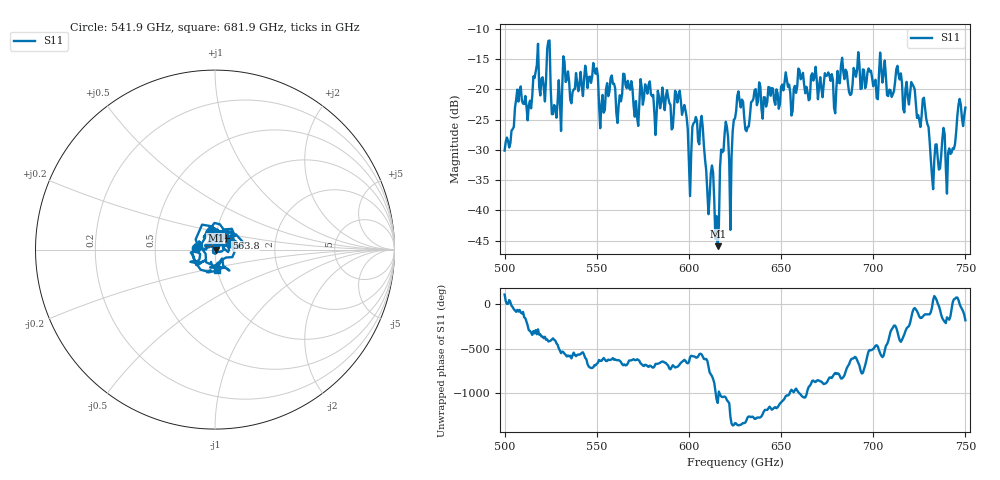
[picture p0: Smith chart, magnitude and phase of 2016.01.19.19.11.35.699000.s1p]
!Created with skrf (http://scikit-rf.org).
# GHz S RI R 50.0
!freq ReS11 ImS11
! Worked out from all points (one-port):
!   401 points, 500 GHz to 750 GHz, reference 50 ohm
!   lowest |S11| = -45.9 dB at 615.6 GHz (marker M1), VSWR 1.01, Z = 50.4 - j0.246 ohm
!   |S11| at or under -10 dB: start of sweep to end of sweep
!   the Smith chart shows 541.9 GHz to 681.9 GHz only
!   S11 on the Smith chart (normalised r, x): 541.9 GHz: 0.81, +0.01; 563.8 GHz: 1.12, +0.15; 681.9 GHz: 0.99, -0.23
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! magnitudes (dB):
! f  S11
! 500 GHz  -30.1
! 507.5 GHz  -22.0
! 513.8 GHz  -21.9
! 516.9 GHz  -17.1
! 520.6 GHz  -18.0
! 523.8 GHz  -12.0
! 526.9 GHz  -22.6
! 531.2 GHz  -19.7
! 541.9 GHz  -19.6
! 562.5 GHz  -21.0
! 563.8 GHz  -20.9
! 593.8 GHz  -22.2
! 600.6 GHz  -37.6
! 603.1 GHz  -25.4
! 607.5 GHz  -26.2
! 610 GHz  -36.8
! 615.6 GHz  -45.9
! 618.8 GHz  -30.2
! 622.5 GHz  -43.2
! 625 GHz  -24.8
! 656.2 GHz  -23.7
! 681.9 GHz  -19.0
! 687.5 GHz  -20.9
! 705 GHz  -18.9
! 718.8 GHz  -21.3
! 728.1 GHz  -23.0
! 732.5 GHz  -36.5
! 750 GHz  -23.0
